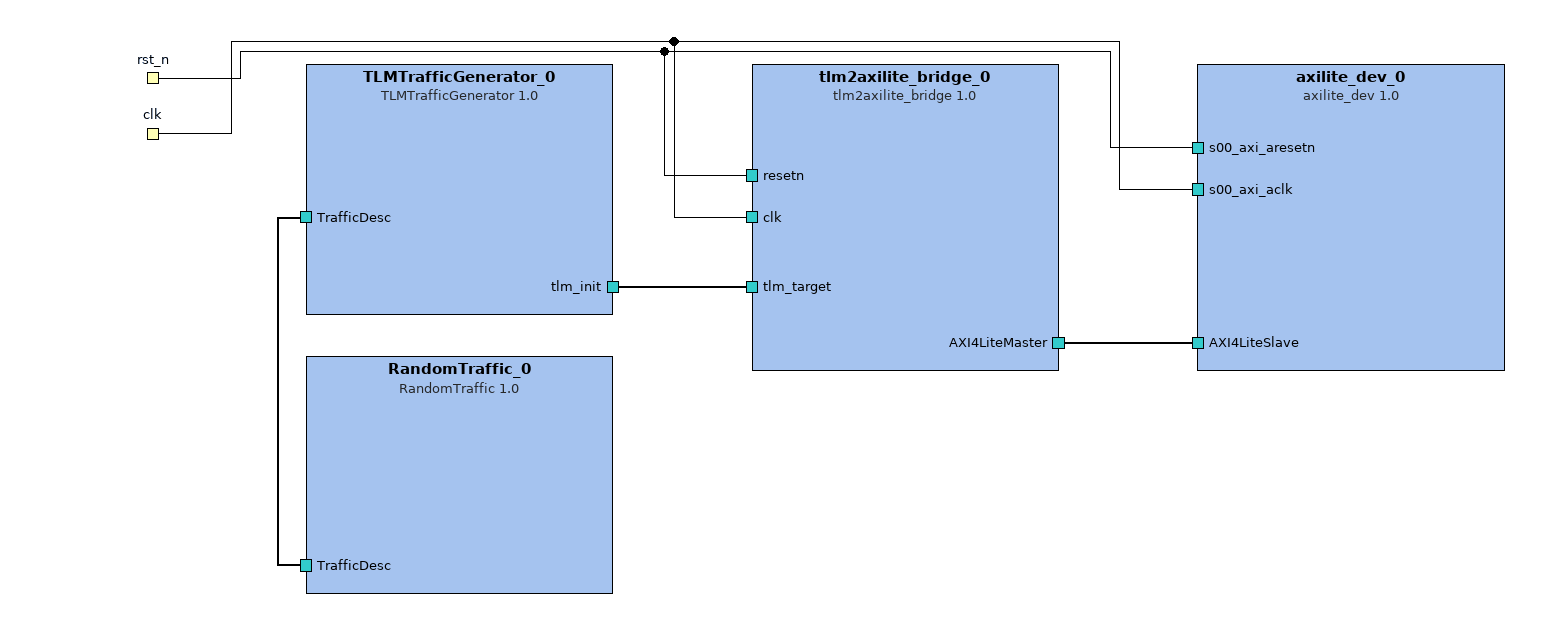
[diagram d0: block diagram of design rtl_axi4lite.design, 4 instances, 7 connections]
<?xml version="1.0" encoding="UTF-8"?>
<!-- // Copyright (c) 2019 Xilinx Inc.
// Written by Francisco Iglesias.
//
// Permission is hereby granted, free of charge, to any person obtaining a copy
// of this software and associated documentation files (the "Software"), to deal
// in the Software without restriction, including without limitation the rights
// to use, copy, modify, merge, publish, distribute, sublicense, and/or sell
// copies of the Software, and to permit persons to whom the Software is
// furnished to do so, subject to the following conditions:
//
// The above copyright notice and this permission notice shall be included in
// all copies or substantial portions of the Software.
//
// THE SOFTWARE IS PROVIDED "AS IS", WITHOUT WARRANTY OF ANY KIND, EXPRESS OR
// IMPLIED, INCLUDING BUT NOT LIMITED TO THE WARRANTIES OF MERCHANTABILITY,
// FITNESS FOR A PARTICULAR PURPOSE AND NONINFRINGEMENT. IN NO EVENT SHALL
// THE AUTHORS OR COPYRIGHT HOLDERS BE LIABLE FOR ANY CLAIM, DAMAGES OR OTHER
// LIABILITY, WHETHER IN AN ACTION OF CONTRACT, TORT OR OTHERWISE, ARISING FROM,
// OUT OF OR IN CONNECTION WITH THE SOFTWARE OR THE USE OR OTHER DEALINGS IN
// THE SOFTWARE. -->
<ipxact:design xmlns:xsi="http://www.w3.org/2001/XMLSchema-instance" xmlns:ipxact="http://www.accellera.org/XMLSchema/IPXACT/1685-2014" xmlns:kactus2="http://kactus2.cs.tut.fi" xsi:schemaLocation="http://www.accellera.org/XMLSchema/IPXACT/1685-2014 http://www.accellera.org/XMLSchema/IPXACT/1685-2014/index.xsd"><ipxact:vendor>xilinx.com</ipxact:vendor><ipxact:library>examples</ipxact:library><ipxact:name>rtl_axi4lite.design</ipxact:name>
 <ipxact:version>1.0</ipxact:version><ipxact:componentInstances>
 <ipxact:componentInstance><ipxact:instanceName>TLMTrafficGenerator_0</ipxact:instanceName><ipxact:componentRef vendor="xilinx.com" library="libsystemctlm-soc" name="TLMTrafficGenerator" version="1.0"/></ipxact:componentInstance>
 <ipxact:componentInstance><ipxact:instanceName>tlm2axilite_bridge_0</ipxact:instanceName>
  <ipxact:componentRef vendor="xilinx.com" library="libsystemctlm-soc" name="tlm2axilite_bridge" version="1.0"><ipxact:configurableElementValues><ipxact:configurableElementValue referenceId="ADDR_WIDTH">4</ipxact:configurableElementValue><ipxact:configurableElementValue referenceId="DATA_WIDTH">32</ipxact:configurableElementValue></ipxact:configurableElementValues></ipxact:componentRef>
 </ipxact:componentInstance>
 <ipxact:componentInstance><ipxact:instanceName>axilite_dev_0</ipxact:instanceName><ipxact:componentRef vendor="xilinx.com" library="libsystemctlm-soc" name="axilite_dev" version="1.0"/></ipxact:componentInstance>
 <ipxact:componentInstance><ipxact:instanceName>RandomTraffic_0</ipxact:instanceName><ipxact:componentRef vendor="xilinx.com" library="libsystemctlm-soc" name="RandomTraffic" version="1.0"/></ipxact:componentInstance>
</ipxact:componentInstances><ipxact:interconnections>
 <ipxact:interconnection><ipxact:name>TLMTrafficGenerator_0_tlm_init_to_tlm2axilite_bridge_0_tlm_target</ipxact:name><ipxact:activeInterface componentRef="TLMTrafficGenerator_0" busRef="tlm_init"/><ipxact:activeInterface componentRef="tlm2axilite_bridge_0" busRef="tlm_target"/></ipxact:interconnection>
 <ipxact:interconnection><ipxact:name>RandomTraffic_0_TrafficDesc_to_TLMTrafficGenerator_0_TrafficDesc</ipxact:name><ipxact:activeInterface componentRef="RandomTraffic_0" busRef="TrafficDesc"/><ipxact:activeInterface componentRef="TLMTrafficGenerator_0" busRef="TrafficDesc"/></ipxact:interconnection>
 <ipxact:interconnection><ipxact:name>tlm2axilite_bridge_0_AXI4LiteMaster_to_axilite_dev_0_AXI4LiteSlave</ipxact:name><ipxact:activeInterface componentRef="tlm2axilite_bridge_0" busRef="AXI4LiteMaster"/><ipxact:activeInterface componentRef="axilite_dev_0" busRef="AXI4LiteSlave"/></ipxact:interconnection>
</ipxact:interconnections><ipxact:adHocConnections>
 <ipxact:adHocConnection><ipxact:name>tlm2axilite_bridge_0_resetn_to_rst_n</ipxact:name><ipxact:portReferences><ipxact:internalPortReference componentRef="tlm2axilite_bridge_0" portRef="resetn"/><ipxact:externalPortReference portRef="rst_n"/></ipxact:portReferences></ipxact:adHocConnection>
 <ipxact:adHocConnection><ipxact:name>axilite_dev_0_s00_axi_aresetn_to_rst_n</ipxact:name><ipxact:portReferences><ipxact:internalPortReference componentRef="axilite_dev_0" portRef="s00_axi_aresetn"/><ipxact:externalPortReference portRef="rst_n"/></ipxact:portReferences></ipxact:adHocConnection>
 <ipxact:adHocConnection><ipxact:name>tlm2axilite_bridge_0_clk_to_clk</ipxact:name><ipxact:portReferences><ipxact:internalPortReference componentRef="tlm2axilite_bridge_0" portRef="clk"/><ipxact:externalPortReference portRef="clk"/></ipxact:portReferences></ipxact:adHocConnection>
 <ipxact:adHocConnection><ipxact:name>axilite_dev_0_s00_axi_aclk_to_clk</ipxact:name><ipxact:portReferences><ipxact:internalPortReference componentRef="axilite_dev_0" portRef="s00_axi_aclk"/><ipxact:externalPortReference portRef="clk"/></ipxact:portReferences></ipxact:adHocConnection>
</ipxact:adHocConnections></ipxact:design>

